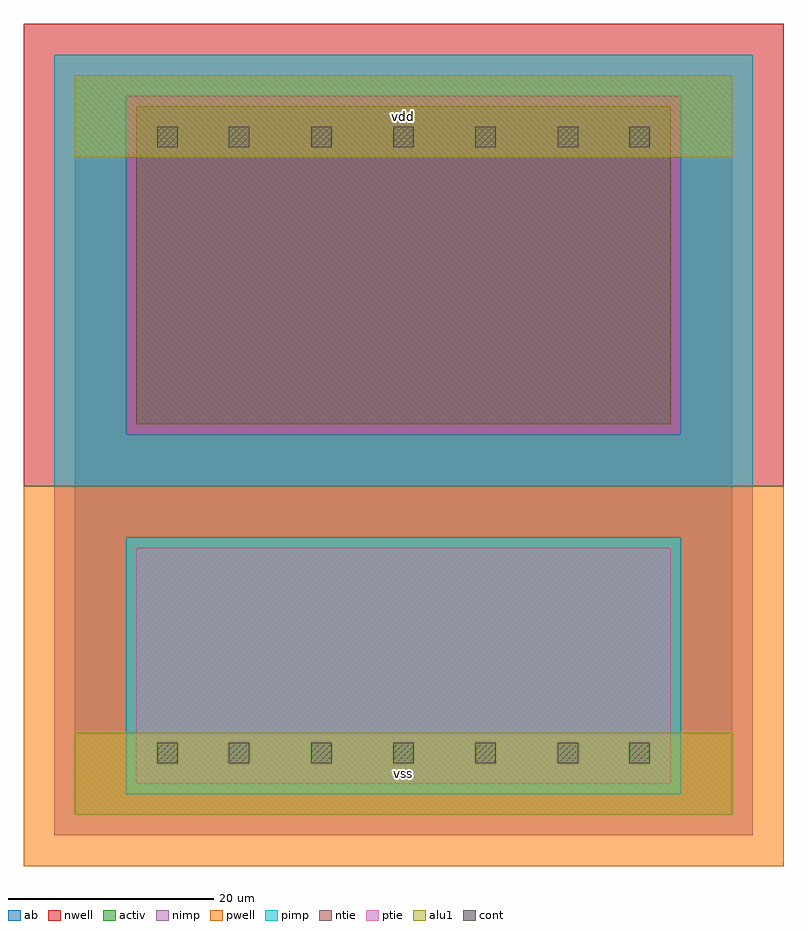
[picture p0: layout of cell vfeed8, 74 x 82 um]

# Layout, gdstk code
import gdstk
lib = gdstk.Library(unit=1e-6, precision=1e-09)
def R(c, l, rs):  # rectangles x0, y0, x1, y1
    for r in rs: c.add(gdstk.rectangle(r[:2], r[2:], *l))
def A(c, l, x, y, w, h, nx, ny, dx, dy):  # array of equal rectangles
    R(c, l, [(x+i*dx, y+j*dy, x+i*dx+w, y+j*dy+h) for i in range(nx) for j in range(ny)])
ntie = (5, 0)
ptie = (6, 0)
cont = (25, 0)
pwell = (41, 0)
nwell = (42, 0)
activ = (43, 0)
pimp = (44, 0)
nimp = (45, 0)
alu1 = (49, 0)
ab = (63, 0)

vfeed8 = lib.new_cell('vfeed8')
R(vfeed8, ntie, [(6,38,58,69)])
R(vfeed8, ptie, [(6,3,58,26)])
A(vfeed8, cont, 15, 5, 2, 2, 5, 2, 8, 60)
R(vfeed8, cont, [(8,5,10,7), (54,5,56,7), (8,65,10,67), (54,65,56,67)])
R(vfeed8, pwell, [(-5,-5,69,32)])
R(vfeed8, nwell, [(-5,32,69,77)])
R(vfeed8, activ, [(6,3,58,26), (6,38,58,69)])
R(vfeed8, pimp, [(5,2,59,27), (-2,32,66,37), (-2,37,5,70), (59,37,66,70), (-2,70,66,74)])
R(vfeed8, nimp, [(-2,-2,66,2), (-2,2,5,27), (59,2,66,27), (-2,27,66,32), (5,37,59,70)])
R(vfeed8, alu1, [(0,0,64,8), (0,64,64,72)])
R(vfeed8, ab, [(0,0,64,72)])
vfeed8.add(gdstk.Label('vss', (32,4), layer=49, texttype=0))
vfeed8.add(gdstk.Label('vdd', (32,68), layer=49, texttype=0))

lib.write_gds('vfeed8.gds')
